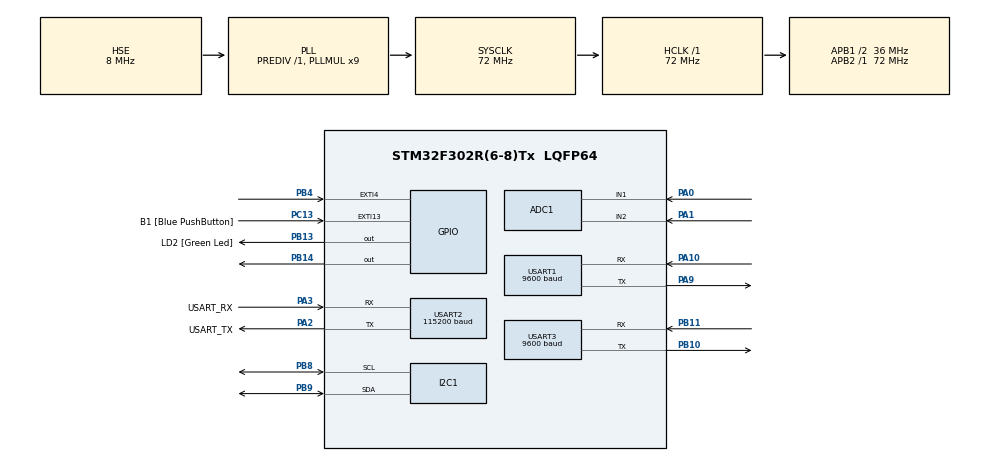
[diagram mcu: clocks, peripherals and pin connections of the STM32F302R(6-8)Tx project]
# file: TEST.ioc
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ADC1.Channel-0\#ChannelRegularConversion=ADC_CHANNEL_1
ADC1.Channel-1\#ChannelRegularConversion=ADC_CHANNEL_2
ADC1.ContinuousConvMode=DISABLE
ADC1.DMAContinuousRequests=DISABLE
ADC1.DiscontinuousConvMode=ENABLE
ADC1.NbrOfConversion=2
ADC1.NbrOfConversionFlag=1
ADC1.Offset-0\#ChannelRegularConversion=0
ADC1.Offset-1\#ChannelRegularConversion=0
ADC1.OffsetNumber-0\#ChannelRegularConversion=ADC_OFFSET_NONE
ADC1.OffsetNumber-1\#ChannelRegularConversion=ADC_OFFSET_NONE
ADC1.Rank-0\#ChannelRegularConversion=1
ADC1.Rank-1\#ChannelRegularConversion=2
ADC1.SamplingTime-0\#ChannelRegularConversion=ADC_SAMPLETIME_1CYCLE_5
ADC1.SamplingTime-1\#ChannelRegularConversion=ADC_SAMPLETIME_1CYCLE_5
ADC1.SamplingTimeOPAMP-1\#ChannelRegularConversion=ADC_SAMPLETIME_61CYCLES_5
ADC1.SubFamily=STM32F302x8
ADC1.master=1
Dma.Request0=USART1_RX
Dma.USART1_RX.0.Direction=DMA_PERIPH_TO_MEMORY
Dma.USART1_RX.0.Instance=DMA1_Channel5
Dma.USART1_RX.0.MemDataAlignment=DMA_MDATAALIGN_BYTE
Dma.USART1_RX.0.MemInc=DMA_MINC_ENABLE
Dma.USART1_RX.0.Mode=DMA_NORMAL
Dma.USART1_RX.0.PeriphDataAlignment=DMA_PDATAALIGN_BYTE
Dma.USART1_RX.0.PeriphInc=DMA_PINC_DISABLE
Dma.USART1_RX.0.Priority=DMA_PRIORITY_LOW
IWDG.Prescaler=IWDG_PRESCALER_128
IWDG.Reload=3124
Mcu.Family=STM32F3
Mcu.Name=STM32F302R(6-8)Tx
Mcu.Package=LQFP64
NVIC.DMA1_Channel5_IRQn=true\:0\:0\:false\:false\:true\:false\:true\:true
NVIC.EXTI4_IRQn=true\:0\:0\:false\:false\:true\:true\:true\:true
NVIC.PriorityGroup=NVIC_PRIORITYGROUP_0
NVIC.TIM1_BRK_TIM15_IRQn=true\:0\:0\:false\:false\:true\:true\:true\:true
NVIC.TIM2_IRQn=true\:0\:0\:false\:false\:true\:true\:true\:true
NVIC.USART1_IRQn=true\:0\:0\:false\:false\:true\:true\:true\:true
PA0.Mode=IN1-Single-Ended
PA0.Signal=ADC1_IN1
PA1.Mode=IN2-Single-Ended
PA1.Signal=ADC1_IN2
PA10.Mode=Asynchronous
PA10.Signal=USART1_RX
PA13.GPIO_Label=TMS
PA13.Mode=Serial_Wire
PA13.Signal=SYS_JTMS-SWDIO
PA14.GPIO_Label=TCK
PA14.Mode=Serial_Wire
PA14.Signal=SYS_JTCK-SWCLK
PA2.GPIO_Label=USART_TX
PA2.GPIO_Mode=GPIO_MODE_AF_PP
PA2.GPIO_PuPd=GPIO_NOPULL
PA2.GPIO_Speed=GPIO_SPEED_FREQ_LOW
PA2.Mode=Asynchronous
PA2.Signal=USART2_TX
PA3.GPIO_Label=USART_RX
PA3.GPIO_Mode=GPIO_MODE_AF_PP
PA3.GPIO_PuPd=GPIO_NOPULL
PA3.GPIO_Speed=GPIO_SPEED_FREQ_LOW
PA3.Mode=Asynchronous
PA3.Signal=USART2_RX
PA9.Mode=Asynchronous
PA9.Signal=USART1_TX
PB10.Mode=Asynchronous
PB10.Signal=USART3_TX
PB11.Mode=Asynchronous
PB11.Signal=USART3_RX
PB13.GPIO_Label=LD2 [Green Led]
PB13.Signal=GPIO_Output
PB14.Signal=GPIO_Output
PB3.GPIO_Label=SWO
PB3.Mode=Trace_Asynchronous_SW
PB3.Signal=SYS_JTDO-TRACESWO
PB4.Signal=GPXTI4
PB8.Mode=I2C
PB8.Signal=I2C1_SCL
PB9.Mode=I2C
PB9.Signal=I2C1_SDA
PC13.GPIO_Label=B1 [Blue PushButton]
PC13.GPIO_ModeDefaultEXTI=GPIO_MODE_IT_FALLING
PC13.Signal=GPXTI13
PC14\ -\ OSC32_IN.Mode=LSE-External-Oscillator
PC14\ -\ OSC32_IN.Signal=RCC_OSC32_IN
PC15\ -\ OSC32_OUT.Mode=LSE-External-Oscillator
PC15\ -\ OSC32_OUT.Signal=RCC_OSC32_OUT
PF0-OSC_IN.Mode=HSE-External-Oscillator
PF0-OSC_IN.Signal=RCC_OSC_IN
PF1-OSC_OUT.Mode=HSE-External-Oscillator
PF1-OSC_OUT.Signal=RCC_OSC_OUT
ProjectManager.HeapSize=0x200
ProjectManager.StackSize=0x400
ProjectManager.TargetToolchain=STM32CubeIDE
RCC.AHBFreq_Value=72000000
RCC.APB1CLKDivider=RCC_HCLK_DIV2
RCC.APB1Freq_Value=36000000
RCC.APB1TimFreq_Value=72000000
RCC.APB2Freq_Value=72000000
RCC.APB2TimFreq_Value=72000000
RCC.CortexFreq_Value=72000000
RCC.HCLKFreq_Value=72000000
RCC.HSE_VALUE=8000000
RCC.HSI_VALUE=8000000
RCC.PLLM=8
RCC.PLLMUL=RCC_PLL_MUL9
RCC.PLLN=336
RCC.PLLP=RCC_PLLP_DIV4
RCC.PLLQ=7
RCC.PLLSourceVirtual=RCC_PLLSOURCE_HSE
RCC.SYSCLKFreq_VALUE=72000000
RCC.SYSCLKSourceVirtual=RCC_SYSCLKSOURCE_PLLCLK
RCC.USBFreq_Value=72000000
TIM15.AutoReloadPreload=TIM_AUTORELOAD_PRELOAD_DISABLE
TIM15.Period=20000-1
TIM15.Prescaler=7200-1
TIM2.AutoReloadPreload=TIM_AUTORELOAD_PRELOAD_ENABLE
TIM2.Period=40000-1
TIM2.Prescaler=72-1
USART1.BaudRate=9600
USART1.Mode=MODE_RX
USART1.VirtualMode-Asynchronous=VM_ASYNC
USART2.BaudRate=115200
USART2.VirtualMode-Asynchronous=VM_ASYNC
USART3.BaudRate=9600
USART3.VirtualMode-Asynchronous=VM_ASYNC
VP_IWDG_VS_IWDG.Mode=IWDG_Activate
VP_TIM15_VS_ClockSourceINT.Mode=Internal
VP_TIM2_VS_ClockSourceINT.Mode=Internal
board=NUCLEO-F302R8

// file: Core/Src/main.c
/* USER CODE BEGIN Header */
/**
  ******************************************************************************
  * @file           : main.c
  * @brief          : Main program body
  ******************************************************************************
  * @attention
  *
  * Copyright (c) 2022 STMicroelectronics.
  * All rights reserved.
  *
  * This software is licensed under terms that can be found in the LICENSE file
  * in the root directory of this software component.
  * If no LICENSE file comes with this software, it is provided AS-IS.
  *
  ******************************************************************************
  */
/* USER CODE END Header */
#include "main.h"

/* USER CODE BEGIN Includes */
#include <stdio.h>
#include <string.h>
#include <stdlib.h>
#include "print_log.h"
#include "i2c-lcd.h"
#include "openlog_STM32.h"
#include "bme280.h"
#include "nmea_gps.h"
#include "water_level.h"
#include "alert_system.h"
#include "button.h"
#include "gps_lock.h"
/* USER CODE END Includes */

/* USER CODE BEGIN PD */
#define SYS_TICK_INTERVAL_MS 40
#define DISPLAY_REFRESH_RATE 2000/SYS_TICK_INTERVAL_MS
#define SENSOR_READ_RATE 5000/SYS_TICK_INTERVAL_MS
#define LOG_DATA_RATE 10000/SYS_TICK_INTERVAL_MS
#define GPSBUF_SIZE 500

/* USER CODE END PD */

ADC_HandleTypeDef hadc1;

I2C_HandleTypeDef hi2c1;

IWDG_HandleTypeDef hiwdg;

TIM_HandleTypeDef htim2;
TIM_HandleTypeDef htim15;

UART_HandleTypeDef huart1;
UART_HandleTypeDef huart2;
UART_HandleTypeDef huart3;
DMA_HandleTypeDef hdma_usart1_rx;

/* USER CODE BEGIN PV */

// Buffers
uint8_t rx_buf[GPSBUF_SIZE]; //Buffer to hold raw gps data
char gps_buf[GPSBUF_SIZE];	//Buffer for GPS data processing
char lcdBuf[20];
bme280_data_t bme280_data;
gps_data_t gps_data = {.time.hours = 00, .time.min = 00, .time.sec = 00}; // parsed gps data
uint16_t waterlevel_reading = 0;
water_level_t water_level = WATER_LEVEL_LOW;
uint16_t batvol_reading = 0;
float batVol = 0;

gps_location_t gps_locked_location;

// Systick
volatile uint8_t systick = 0;
uint32_t systick_cnt = 0;

// Flags
volatile uint8_t gps_sat_lock = 0;		//EXT interrupt when GPS has lock
volatile uint8_t gps_data_ready = 0;	//DMA interrupt when UART line goes idle
volatile uint8_t gps_active = 0;		//GPS data is processed and ready to log and display
gps_lock_state_t gps_lock_state = GPS_UNLOCKED;
static uint8_t read_sensor_cnt = SENSOR_READ_RATE;
static uint16_t log_data_cnt = 0;
static uint8_t check_water_lvl_cnt = 0;
static uint8_t lcd_update_cnt = DISPLAY_REFRESH_RATE;
static alert_state_t alert_state_global = ALERT_NORMAL;

// LCD control
typedef enum {
    LCD_PAGE_NO_GPS,
    LCD_PAGE_TIME, // Require GPS lock
    LCD_PAGE_GPS, // Require GPS lock
    LCD_PAGE_SPEED, // Require GPS lock
    LCD_PAGE_TEMP,
    LCD_PAGE_WATER_LVL,
    LCD_PAGE_BAT_VOL,
    LCD_PAGE_ALERTS
} lcd_page_t;

lcd_page_t lcd_current_page = LCD_PAGE_NO_GPS;

/**
 * @brief Go to next lcd page.
 *
 */
void lcd_toggle(void)
{
    lcd_page_t lcd_next_page;
    switch (lcd_current_page)
    {
    case LCD_PAGE_TEMP:
        if (alert_state_global) {
            lcd_next_page = LCD_PAGE_ALERTS;
        } else {
            lcd_next_page = LCD_PAGE_WATER_LVL;
        }
        break;
    case LCD_PAGE_WATER_LVL:
        lcd_next_page = LCD_PAGE_BAT_VOL;
        break;
    case LCD_PAGE_BAT_VOL:
        if (!gps_active) {
            lcd_next_page = LCD_PAGE_NO_GPS;
        } else {
            lcd_next_page = LCD_PAGE_TIME;
        }
        break;
    case LCD_PAGE_NO_GPS:
        lcd_next_page = LCD_PAGE_TEMP;
        break;
    case LCD_PAGE_TIME:
        if (!gps_active) {
            lcd_next_page = LCD_PAGE_TEMP;
        } else {
            lcd_next_page = LCD_PAGE_GPS;
        }
        break;
    case LCD_PAGE_GPS:
        if (!gps_active) {
            lcd_next_page = LCD_PAGE_TEMP;
        } else {
            lcd_next_page = LCD_PAGE_SPEED;
        }
        break;
    case LCD_PAGE_SPEED:
        lcd_next_page = LCD_PAGE_TEMP;
        break;
    case LCD_PAGE_ALERTS:
        lcd_next_page = LCD_PAGE_WATER_LVL;
        break;
    default:
        lcd_next_page = LCD_PAGE_TEMP;
        break;
    }
    // char buf[50];
    // sprintf(buf, "Current page: %d // Next page: %d", lcd_current_page, lcd_next_page);
    // printInfo(buf);
    lcd_current_page = lcd_next_page;
    lcd_update_cnt = DISPLAY_REFRESH_RATE;
}

// User button
button_t user_button;
button_pin_state_t read_user_button(void)
{
  return (button_pin_state_t)HAL_GPIO_ReadPin(GPIOC, GPIO_PIN_13);
}

void button_pressed(void)
{
    lcd_toggle();
}

void button_long_pressed(void)
{
	if (gps_lock_state == GPS_UNLOCKED) {
		gps_lock_state = GPS_LOCKED;
        // Save most recent gps data
        gps_locked_location.lati = gps_data.lati;
        gps_locked_location.longi = gps_data.longi;
        char buf[100];
        sprintf(buf, "GPS position locked: %f,%f", gps_locked_location.lati, gps_locked_location.longi);
        printInfo(buf);
	} else {
		gps_lock_state = GPS_UNLOCKED;
        printInfo("GPS position unlocked");
	}
}

/* USER CODE END PV */

void SystemClock_Config(void);
static void MX_GPIO_Init(void);
static void MX_DMA_Init(void);
static void MX_USART2_UART_Init(void);
static void MX_ADC1_Init(void);
static void MX_I2C1_Init(void);
static void MX_USART3_UART_Init(void);
static void MX_USART1_UART_Init(void);
static void MX_IWDG_Init(void);
static void MX_TIM15_Init(void);
static void MX_TIM2_Init(void);

int main(void)
{
  /* USER CODE BEGIN 1 */
    char logData[100];

  /* USER CODE END 1 */

  /* MCU Configuration--------------------------------------------------------*/

  /* Reset of all peripherals, Initializes the Flash interface and the Systick. */
  HAL_Init();

  /* Configure the system clock */
  SystemClock_Config();

  /* Initialize all configured peripherals */
  MX_GPIO_Init();
  MX_DMA_Init();
  MX_USART2_UART_Init();
  MX_ADC1_Init();
  MX_I2C1_Init();
  MX_USART3_UART_Init();
  MX_USART1_UART_Init();
  MX_IWDG_Init();
  MX_TIM15_Init();
  MX_TIM2_Init();
  /* USER CODE BEGIN 2 */

    HAL_TIM_Base_Start_IT(&htim2);	//Starting Timer2 in interrupt mode
    HAL_TIM_Base_Start_IT(&htim15);

    HAL_UARTEx_ReceiveToIdle_DMA(&huart1, rx_buf, GPSBUF_SIZE); 	//Init GPS uart data to DMA
    __HAL_DMA_DISABLE_IT(&hdma_usart1_rx, DMA_IT_HT);				//Disable half-tranfer complete interrupt, since data size is unknown

    // Initialize terminal logger
    print_log_init(&huart2, (log_time_t*)&gps_data.time, &systick_cnt);
    printInfo("Boat-log ON!");

    // LCD
    lcd_init(&hi2c1);
    lcd_send_string_xy("Boat-log ON!", 0, 0, CLEAR_LCD);
    HAL_Delay(2000);
    lcd_clear();

    // User button
    button_config_t button_cfg = {
        .active_state = BUTTON_PIN_STATE_LOW,
        .read_pin_cb = &read_user_button,
        .debounce_ticks = 0,
        .long_press_ticks = 16
    };
    button_init(&user_button, &button_cfg);
    button_register_cb(&user_button, &button_pressed, BUTTON_ON_SHORT_PRESS);
    button_register_cb(&user_button, &button_long_pressed, BUTTON_ON_LONG_PRESS);

    // BME280 temperature/humudity/pressure sensor
    if (bme280_init(&hi2c1)) {
        printInfo("BME280 initialized");
    }

    // OpenLog
    //Header for .csv logfile
    sprintf(logData, "Time,Date,Latitude,Longitude,Speed,Course,Temp,Pres,Hum,WaterLvl,BatVoltage");
    openlogAppendFile("log1.csv", logData);
    printInfo("Started OpenLog file");

    // Alert system
    alert_system_init(&htim15);
    printInfo("Initialized alert system");

    // Set alerts
    alert_system_register(TEMPERATURE_ALERT, "Temperature", ALERT_ABOVE_THRESHOLD, 25.0, 28.0); // Low alert above 25degC, High alert above 28 degC
    alert_system_register(HUMIDITY_ALERT, "Humidity", ALERT_ABOVE_THRESHOLD, 72.0, 90.0);
    alert_system_register(BATTERY_VOLTAGE_ALERT, "Low Battery Voltage", ALERT_BELOW_THRESHOLD, 10.8, 11.2);
    alert_system_register(BATTERY_VOLTAGE_ALERT, "Overvoltage protection", ALERT_ABOVE_THRESHOLD, 12.5, 13.0);
    alert_system_register(WATER_LEVEL_ALERT, "Water level", ALERT_ABOVE_THRESHOLD, 1, 1); // Low alert & High alert >= 1
    alert_system_register(POSITION_ALERT, "Distance", ALERT_ABOVE_THRESHOLD, 0.3, 0.5); // Low alert above 100m, High alert above 500m

  /* USER CODE END 2 */

  /* Infinite loop */
  /* USER CODE BEGIN WHILE */
    while (1)
    {
        if (systick) {
            systick = 0;
            button_tick(&user_button);
            systick_cnt++;
            read_sensor_cnt++;
            log_data_cnt++;
            check_water_lvl_cnt++;
            lcd_update_cnt++;
            alert_state_global = alert_system_alert_level();
        }
    /* USER CODE END WHILE */

    /* USER CODE BEGIN 3 */
        if(gps_sat_lock == 1) {
            if (gps_data_ready) {
                gps_data_ready = 0;
                getLocation(&gps_data, gps_buf);
                memset(gps_buf, 0x00, GPSBUF_SIZE);
                gps_active = 1;
                gps_data.date = rolloverDateConvertion(gps_data.date);
                gps_data.speed = gps_data.speed*1.852; // Convert to Km/h

                // If position locked, calculate current distance to locked position
                if (gps_lock_state == GPS_LOCKED) {
//                    float distance_km = (float)distance((double)gps_locked_location.lati, (double)gps_locked_location.longi, (double)gps_data.lati, (double)gps_data.longi);
                    float dif_lati = abs(gps_locked_location.lati - gps_data.lati);
                	float dif_longi = abs(gps_locked_location.longi - gps_data.longi);
                	alert_state_t alert_state;
                    alert_system_check((dif_lati+dif_longi), POSITION_ALERT, &alert_state);
                }

                // Print to terminal log
                char buf[128];
                sprintf(buf, "Latitude: %.2f // Longitude: %.2f // Course: %.2f // Speed: %.2f",
                    gps_data.lati, gps_data.longi, gps_data.course, gps_data.speed);
                printInfo(buf);
            }
        }

        if (read_sensor_cnt >= SENSOR_READ_RATE) {
            read_sensor_cnt = 0;
            HAL_ADC_Start(&hadc1);
            HAL_ADC_PollForConversion(&hadc1, 1000);
            waterlevel_reading = HAL_ADC_GetValue(&hadc1);
            HAL_ADC_Start(&hadc1);
            HAL_ADC_PollForConversion(&hadc1, 1000);
            batvol_reading = HAL_ADC_GetValue(&hadc1);
            batVol = (15.275/4095)*(float)batvol_reading;

            bme280_read_all(&bme280_data);

            water_level = water_level_convert(waterlevel_reading);

            // Let alert_system check new values
            bool alert = false;
            alert_state_t alert_state;
            alert_state_t waterlevel_alert_state;
            alert |= alert_system_check(bme280_data.temperature, TEMPERATURE_ALERT, &alert_state);
            alert |= alert_system_check(bme280_data.humidity, HUMIDITY_ALERT, &alert_state);
            alert |= alert_system_check(batVol, BATTERY_VOLTAGE_ALERT, &alert_state);
            alert |= alert_system_check(bme280_data.temperature, TEMPERATURE_ALERT, &alert_state);
            alert |= alert_system_check(water_level, WATER_LEVEL_ALERT, &waterlevel_alert_state);

            // Control Water Pump based on water level
            if (waterlevel_alert_state != ALERT_NORMAL) {
                // Switch relay to turn water pump on
                HAL_GPIO_WritePin(GPIOB, GPIO_PIN_14, GPIO_PIN_SET);
            } else {
                // Switch relay to turn water pump off
                HAL_GPIO_WritePin(GPIOB, GPIO_PIN_14, GPIO_PIN_RESET);
            }

            // If any check set alert to true, go to ALERT page on lcd
            if (alert){
                lcd_current_page = LCD_PAGE_ALERTS;
                lcd_update_cnt = DISPLAY_REFRESH_RATE;
            }

            // Print new values to terminal log
            char buf[128];
            sprintf(buf, "Temp: %.2f DegC // Hum: %.2f %%RH // Pres: %.2f hPa // BatVol: %.2fV // WaterLvl: %s",
                bme280_data.temperature, bme280_data.humidity, bme280_data.pressure, batVol, waterlevel_str[water_level]);
            printInfo(buf);
	    }

        if (log_data_cnt >= LOG_DATA_RATE) {
            log_data_cnt = 0;
            // Save formatted data to OpenLog
            sprintf(logData, "%02d:%02d:%02d,%06d,%f,%f,%.02f,%.02f,%.02f,%.02f,%.02f,%s,%.02f",
                gps_data.time.hours, gps_data.time.min, gps_data.time.sec, gps_data.date,
                gps_data.lati, gps_data.longi, gps_data.speed, gps_data.course, bme280_data.temperature,
                bme280_data.pressure, bme280_data.humidity, waterlevel_str[water_level],batVol);
            openlogAppendFile("log1.csv", logData);
        }

        if(lcd_update_cnt >= DISPLAY_REFRESH_RATE) {
            lcd_update_cnt = 0;
            switch (lcd_current_page)
            {
            case LCD_PAGE_NO_GPS:
                sprintf(lcdBuf, "NO GPS LOCK!");
                printInfo("No GPS lock.");
                lcd_send_string_xy(lcdBuf, 0, 0, CLEAR_LCD);
                break;
            case LCD_PAGE_TIME:
                sprintf(lcdBuf, "Time: %02d:%02d:%02d", gps_data.time.hours, gps_data.time.min , gps_data.time.sec);
                lcd_send_string_xy(lcdBuf, 0, 0, CLEAR_LCD);
                sprintf(lcdBuf, "Date: %06d", gps_data.date);
                lcd_send_string_xy(lcdBuf, 1, 0, DONT_CLEAR_LCD);
                break;
            case LCD_PAGE_GPS:
                sprintf(lcdBuf, "Lati: %.05f", gps_data.lati);
                lcd_send_string_xy(lcdBuf, 0, 0, CLEAR_LCD);
                sprintf(lcdBuf, "Long: %.05f", gps_data.longi);
                lcd_send_string_xy(lcdBuf, 1, 0, DONT_CLEAR_LCD);
                break;
            case LCD_PAGE_SPEED:
                sprintf(lcdBuf, "Km/h: %.02f", gps_data.speed);
                lcd_send_string_xy(lcdBuf, 0, 0, CLEAR_LCD);
                sprintf(lcdBuf, "Heading: %.02f", gps_data.course);
                lcd_send_string_xy(lcdBuf, 1, 0, DONT_CLEAR_LCD);
                break;
            case LCD_PAGE_TEMP:
                sprintf(lcdBuf, "Temp: %.02f DegC", bme280_data.temperature);
                lcd_send_string_xy(lcdBuf, 0, 0, CLEAR_LCD);
                sprintf(lcdBuf, "Pres: %.02f hPa", bme280_data.pressure);
                lcd_send_string_xy(lcdBuf, 1, 0, DONT_CLEAR_LCD);
                break;
            case LCD_PAGE_WATER_LVL:
                sprintf(lcdBuf, "Hum: %.02f %%RH", bme280_data.humidity);
                lcd_send_string_xy(lcdBuf, 0, 0, CLEAR_LCD);
                sprintf(lcdBuf, "WaterLvl: %s", waterlevel_str[water_level]);
                lcd_send_string_xy(lcdBuf, 1, 0, DONT_CLEAR_LCD);
                break;
            case LCD_PAGE_BAT_VOL:
                sprintf(lcdBuf, "BatVol: %.02fV", batVol);
                lcd_send_string_xy(lcdBuf, 0, 0, CLEAR_LCD);
                break;
            case LCD_PAGE_ALERTS:
                sprintf(lcdBuf, "ALERT!!");
                lcd_send_string_xy(lcdBuf, 0, 0, CLEAR_LCD);
                break;
            default:
                break;
            }
        }
        HAL_IWDG_Refresh(&hiwdg);	//Pet the watchdog - will timeout after 10sec
    }
  /* USER CODE END 3 */
}

void SystemClock_Config(void)
{
  RCC_OscInitTypeDef RCC_OscInitStruct = {0};
  RCC_ClkInitTypeDef RCC_ClkInitStruct = {0};
  RCC_PeriphCLKInitTypeDef PeriphClkInit = {0};

  /** Initializes the RCC Oscillators according to the specified parameters
  * in the RCC_OscInitTypeDef structure.
  */
  RCC_OscInitStruct.OscillatorType = RCC_OSCILLATORTYPE_HSI|RCC_OSCILLATORTYPE_LSI
                              |RCC_OSCILLATORTYPE_HSE;
  RCC_OscInitStruct.HSEState = RCC_HSE_ON;
  RCC_OscInitStruct.HSEPredivValue = RCC_HSE_PREDIV_DIV1;
  RCC_OscInitStruct.HSIState = RCC_HSI_ON;
  RCC_OscInitStruct.HSICalibrationValue = RCC_HSICALIBRATION_DEFAULT;
  RCC_OscInitStruct.LSIState = RCC_LSI_ON;
  RCC_OscInitStruct.PLL.PLLState = RCC_PLL_ON;
  RCC_OscInitStruct.PLL.PLLSource = RCC_PLLSOURCE_HSE;
  RCC_OscInitStruct.PLL.PLLMUL = RCC_PLL_MUL9;
  if (HAL_RCC_OscConfig(&RCC_OscInitStruct) != HAL_OK)
  {
    Error_Handler();
  }

  /** Initializes the CPU, AHB and APB buses clocks
  */
  RCC_ClkInitStruct.ClockType = RCC_CLOCKTYPE_HCLK|RCC_CLOCKTYPE_SYSCLK
                              |RCC_CLOCKTYPE_PCLK1|RCC_CLOCKTYPE_PCLK2;
  RCC_ClkInitStruct.SYSCLKSource = RCC_SYSCLKSOURCE_PLLCLK;
  RCC_ClkInitStruct.AHBCLKDivider = RCC_SYSCLK_DIV1;
  RCC_ClkInitStruct.APB1CLKDivider = RCC_HCLK_DIV2;
  RCC_ClkInitStruct.APB2CLKDivider = RCC_HCLK_DIV1;

  if (HAL_RCC_ClockConfig(&RCC_ClkInitStruct, FLASH_LATENCY_2) != HAL_OK)
  {
    Error_Handler();
  }
  PeriphClkInit.PeriphClockSelection = RCC_PERIPHCLK_USART1|RCC_PERIPHCLK_I2C1
                              |RCC_PERIPHCLK_TIM15|RCC_PERIPHCLK_ADC1;
  PeriphClkInit.Usart1ClockSelection = RCC_USART1CLKSOURCE_PCLK1;
  PeriphClkInit.I2c1ClockSelection = RCC_I2C1CLKSOURCE_HSI;
  PeriphClkInit.Tim15ClockSelection = RCC_TIM15CLK_HCLK;
  PeriphClkInit.Adc1ClockSelection = RCC_ADC1PLLCLK_DIV1;

  if (HAL_RCCEx_PeriphCLKConfig(&PeriphClkInit) != HAL_OK)
  {
    Error_Handler();
  }
}

static void MX_ADC1_Init(void)
{

  ADC_ChannelConfTypeDef sConfig = {0};

  /** Common config
  */
  hadc1.Instance = ADC1;
  hadc1.Init.ClockPrescaler = ADC_CLOCK_ASYNC_DIV1;
  hadc1.Init.Resolution = ADC_RESOLUTION_12B;
  hadc1.Init.ScanConvMode = ADC_SCAN_ENABLE;
  hadc1.Init.ContinuousConvMode = DISABLE;
  hadc1.Init.DiscontinuousConvMode = ENABLE;
  hadc1.Init.NbrOfDiscConversion = 1;
  hadc1.Init.ExternalTrigConvEdge = ADC_EXTERNALTRIGCONVEDGE_NONE;
  hadc1.Init.ExternalTrigConv = ADC_SOFTWARE_START;
  hadc1.Init.DataAlign = ADC_DATAALIGN_RIGHT;
  hadc1.Init.NbrOfConversion = 2;
  hadc1.Init.DMAContinuousRequests = DISABLE;
  hadc1.Init.EOCSelection = ADC_EOC_SINGLE_CONV;
  hadc1.Init.LowPowerAutoWait = DISABLE;
  hadc1.Init.Overrun = ADC_OVR_DATA_OVERWRITTEN;
  if (HAL_ADC_Init(&hadc1) != HAL_OK)
  {
    Error_Handler();
  }

  /** Configure Regular Channel
  */
  sConfig.Channel = ADC_CHANNEL_1;
  sConfig.Rank = ADC_REGULAR_RANK_1;
  sConfig.SingleDiff = ADC_SINGLE_ENDED;
  sConfig.SamplingTime = ADC_SAMPLETIME_1CYCLE_5;
  sConfig.OffsetNumber = ADC_OFFSET_NONE;
  sConfig.Offset = 0;
  if (HAL_ADC_ConfigChannel(&hadc1, &sConfig) != HAL_OK)
  {
    Error_Handler();
  }

  /** Configure Regular Channel
  */
  sConfig.Channel = ADC_CHANNEL_2;
  sConfig.Rank = ADC_REGULAR_RANK_2;
  if (HAL_ADC_ConfigChannel(&hadc1, &sConfig) != HAL_OK)
  {
    Error_Handler();
  }

}

static void MX_I2C1_Init(void)
{

  hi2c1.Instance = I2C1;
  hi2c1.Init.Timing = 0x2000090E;
  hi2c1.Init.OwnAddress1 = 0;
  hi2c1.Init.AddressingMode = I2C_ADDRESSINGMODE_7BIT;
  hi2c1.Init.DualAddressMode = I2C_DUALADDRESS_DISABLE;
  hi2c1.Init.OwnAddress2 = 0;
  hi2c1.Init.OwnAddress2Masks = I2C_OA2_NOMASK;
  hi2c1.Init.GeneralCallMode = I2C_GENERALCALL_DISABLE;
  hi2c1.Init.NoStretchMode = I2C_NOSTRETCH_DISABLE;
  if (HAL_I2C_Init(&hi2c1) != HAL_OK)
  {
    Error_Handler();
  }

  /** Configure Analogue filter
  */
  if (HAL_I2CEx_ConfigAnalogFilter(&hi2c1, I2C_ANALOGFILTER_ENABLE) != HAL_OK)
  {
    Error_Handler();
  }

  /** Configure Digital filter
  */
  if (HAL_I2CEx_ConfigDigitalFilter(&hi2c1, 0) != HAL_OK)
  {
    Error_Handler();
  }

}

static void MX_IWDG_Init(void)
{

  hiwdg.Instance = IWDG;
  hiwdg.Init.Prescaler = IWDG_PRESCALER_128;
  hiwdg.Init.Window = 4095;
  hiwdg.Init.Reload = 3124;
  if (HAL_IWDG_Init(&hiwdg) != HAL_OK)
  {
    Error_Handler();
  }

}

static void MX_TIM2_Init(void)
{

  TIM_ClockConfigTypeDef sClockSourceConfig = {0};
  TIM_MasterConfigTypeDef sMasterConfig = {0};

  htim2.Instance = TIM2;
  htim2.Init.Prescaler = 72-1;
  htim2.Init.CounterMode = TIM_COUNTERMODE_UP;
  htim2.Init.Period = 40000-1;
  htim2.Init.ClockDivision = TIM_CLOCKDIVISION_DIV1;
  htim2.Init.AutoReloadPreload = TIM_AUTORELOAD_PRELOAD_ENABLE;
  if (HAL_TIM_Base_Init(&htim2) != HAL_OK)
  {
    Error_Handler();
  }
  sClockSourceConfig.ClockSource = TIM_CLOCKSOURCE_INTERNAL;
  if (HAL_TIM_ConfigClockSource(&htim2, &sClockSourceConfig) != HAL_OK)
  {
    Error_Handler();
  }
  sMasterConfig.MasterOutputTrigger = TIM_TRGO_RESET;
  sMasterConfig.MasterSlaveMode = TIM_MASTERSLAVEMODE_DISABLE;
  if (HAL_TIMEx_MasterConfigSynchronization(&htim2, &sMasterConfig) != HAL_OK)
  {
    Error_Handler();
  }

}

static void MX_TIM15_Init(void)
{

  TIM_ClockConfigTypeDef sClockSourceConfig = {0};
  TIM_MasterConfigTypeDef sMasterConfig = {0};

  htim15.Instance = TIM15;
  htim15.Init.Prescaler = 7200-1;
  htim15.Init.CounterMode = TIM_COUNTERMODE_UP;
  htim15.Init.Period = 20000-1;
  htim15.Init.ClockDivision = TIM_CLOCKDIVISION_DIV1;
  htim15.Init.RepetitionCounter = 0;
  htim15.Init.AutoReloadPreload = TIM_AUTORELOAD_PRELOAD_DISABLE;
  if (HAL_TIM_Base_Init(&htim15) != HAL_OK)
  {
    Error_Handler();
  }
  sClockSourceConfig.ClockSource = TIM_CLOCKSOURCE_INTERNAL;
  if (HAL_TIM_ConfigClockSource(&htim15, &sClockSourceConfig) != HAL_OK)
  {
    Error_Handler();
  }
  sMasterConfig.MasterOutputTrigger = TIM_TRGO_RESET;
  sMasterConfig.MasterSlaveMode = TIM_MASTERSLAVEMODE_DISABLE;
  if (HAL_TIMEx_MasterConfigSynchronization(&htim15, &sMasterConfig) != HAL_OK)
  {
    Error_Handler();
  }

}

static void MX_USART1_UART_Init(void)
{

  huart1.Instance = USART1;
  huart1.Init.BaudRate = 9600;
  huart1.Init.WordLength = UART_WORDLENGTH_8B;
  huart1.Init.StopBits = UART_STOPBITS_1;
  huart1.Init.Parity = UART_PARITY_NONE;
  huart1.Init.Mode = UART_MODE_RX;
  huart1.Init.HwFlowCtl = UART_HWCONTROL_NONE;
  huart1.Init.OverSampling = UART_OVERSAMPLING_16;
  huart1.Init.OneBitSampling = UART_ONE_BIT_SAMPLE_DISABLE;
  huart1.AdvancedInit.AdvFeatureInit = UART_ADVFEATURE_NO_INIT;
  if (HAL_UART_Init(&huart1) != HAL_OK)
  {
    Error_Handler();
  }

}

static void MX_USART2_UART_Init(void)
{

  huart2.Instance = USART2;
  huart2.Init.BaudRate = 115200;
  huart2.Init.WordLength = UART_WORDLENGTH_8B;
  huart2.Init.StopBits = UART_STOPBITS_1;
  huart2.Init.Parity = UART_PARITY_NONE;
  huart2.Init.Mode = UART_MODE_TX_RX;
  huart2.Init.HwFlowCtl = UART_HWCONTROL_NONE;
  huart2.Init.OverSampling = UART_OVERSAMPLING_16;
  huart2.Init.OneBitSampling = UART_ONE_BIT_SAMPLE_DISABLE;
  huart2.AdvancedInit.AdvFeatureInit = UART_ADVFEATURE_NO_INIT;
  if (HAL_UART_Init(&huart2) != HAL_OK)
  {
    Error_Handler();
  }

}

static void MX_USART3_UART_Init(void)
{

  huart3.Instance = USART3;
  huart3.Init.BaudRate = 9600;
  huart3.Init.WordLength = UART_WORDLENGTH_8B;
  huart3.Init.StopBits = UART_STOPBITS_1;
  huart3.Init.Parity = UART_PARITY_NONE;
  huart3.Init.Mode = UART_MODE_TX_RX;
  huart3.Init.HwFlowCtl = UART_HWCONTROL_NONE;
  huart3.Init.OverSampling = UART_OVERSAMPLING_16;
  huart3.Init.OneBitSampling = UART_ONE_BIT_SAMPLE_DISABLE;
  huart3.AdvancedInit.AdvFeatureInit = UART_ADVFEATURE_NO_INIT;
  if (HAL_UART_Init(&huart3) != HAL_OK)
  {
    Error_Handler();
  }

}

static void MX_DMA_Init(void)
{

  /* DMA controller clock enable */
  __HAL_RCC_DMA1_CLK_ENABLE();

  /* DMA interrupt init */
  /* DMA1_Channel5_IRQn interrupt configuration */
  HAL_NVIC_SetPriority(DMA1_Channel5_IRQn, 0, 0);
  HAL_NVIC_EnableIRQ(DMA1_Channel5_IRQn);

}

static void MX_GPIO_Init(void)
{
  GPIO_InitTypeDef GPIO_InitStruct = {0};

  /* GPIO Ports Clock Enable */
  __HAL_RCC_GPIOC_CLK_ENABLE();
  __HAL_RCC_GPIOF_CLK_ENABLE();
  __HAL_RCC_GPIOA_CLK_ENABLE();
  __HAL_RCC_GPIOB_CLK_ENABLE();

  /*Configure GPIO pin Output Level */
  HAL_GPIO_WritePin(GPIOB, LD2_Pin|GPIO_PIN_14, GPIO_PIN_RESET);

  /*Configure GPIO pin : B1_Pin */
  GPIO_InitStruct.Pin = B1_Pin;
  GPIO_InitStruct.Mode = GPIO_MODE_IT_FALLING;
  GPIO_InitStruct.Pull = GPIO_NOPULL;
  HAL_GPIO_Init(B1_GPIO_Port, &GPIO_InitStruct);

  /*Configure GPIO pins : LD2_Pin PB14 */
  GPIO_InitStruct.Pin = LD2_Pin|GPIO_PIN_14;
  GPIO_InitStruct.Mode = GPIO_MODE_OUTPUT_PP;
  GPIO_InitStruct.Pull = GPIO_NOPULL;
  GPIO_InitStruct.Speed = GPIO_SPEED_FREQ_LOW;
  HAL_GPIO_Init(GPIOB, &GPIO_InitStruct);

  /*Configure GPIO pin : PB4 */
  GPIO_InitStruct.Pin = GPIO_PIN_4;
  GPIO_InitStruct.Mode = GPIO_MODE_IT_RISING;
  GPIO_InitStruct.Pull = GPIO_NOPULL;
  HAL_GPIO_Init(GPIOB, &GPIO_InitStruct);

  /* EXTI interrupt init*/
  HAL_NVIC_SetPriority(EXTI4_IRQn, 0, 0);
  HAL_NVIC_EnableIRQ(EXTI4_IRQn);

}

/* USER CODE BEGIN 4 */
//*****ISR FUNCTIONS*****

//Timers interrupt service routine
void HAL_TIM_PeriodElapsedCallback(TIM_HandleTypeDef* htim)
{
    // Timer2
    if (htim == &htim2) {
      systick = 1;
    }

    // Timer15
    if (htim == &htim15) {
      HAL_GPIO_TogglePin(GPIOB, GPIO_PIN_13);
    }
}

// External Interrupt ISR Handler CallBackFun
void HAL_GPIO_EXTI_Callback(uint16_t GPIO_Pin)
{
    if(GPIO_Pin == GPIO_PIN_4) // INT Source is pin PB4
    {
        if(gps_sat_lock == 0)
        {
            gps_sat_lock = 1;
        }
    }
}

void HAL_UARTEx_RxEventCallback(UART_HandleTypeDef *huart, uint16_t Size)
{
    if(huart->Instance == USART1)
    {
        memcpy(gps_buf, (char*)rx_buf, Size);
        gps_data_ready = 1;
        HAL_UARTEx_ReceiveToIdle_DMA(&huart1, rx_buf, GPSBUF_SIZE);
        __HAL_DMA_DISABLE_IT(&hdma_usart1_rx, DMA_IT_HT);
    }
}

/* USER CODE END 4 */

void Error_Handler(void)
{
  /* USER CODE BEGIN Error_Handler_Debug */

  printInfo("An error occured");
  sprintf(lcdBuf, "ERROR!");
  lcd_send_string_xy(lcdBuf, 0, 0, CLEAR_LCD);
  /* User can add his own implementation to report the HAL error return state */
  __disable_irq();
  while (1)
  {
  }
  /* USER CODE END Error_Handler_Debug */
}
